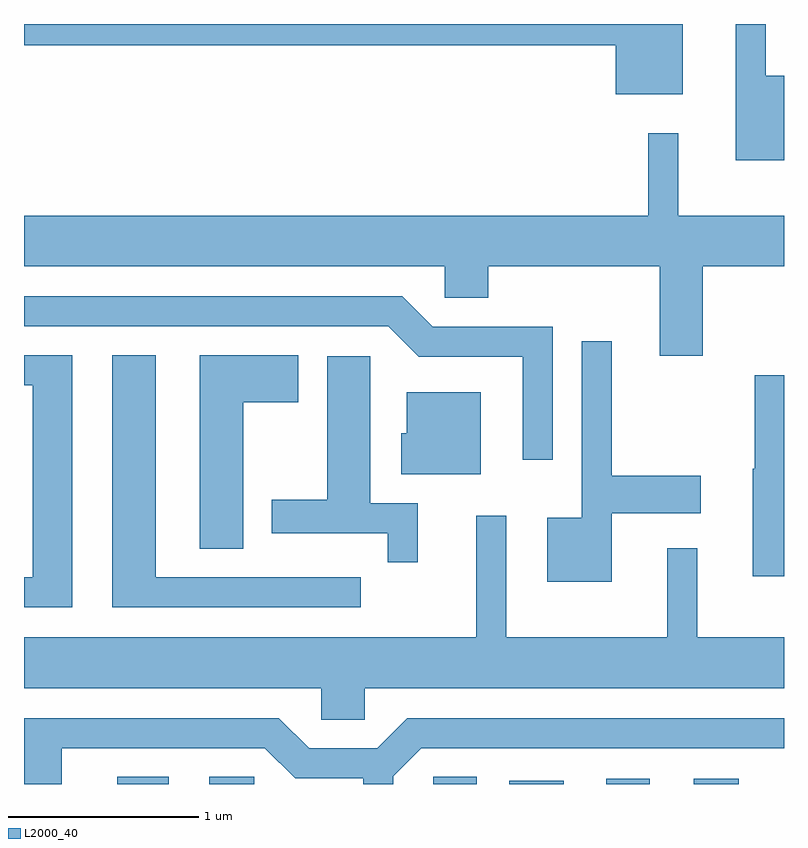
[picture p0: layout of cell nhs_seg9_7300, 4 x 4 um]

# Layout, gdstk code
import gdstk
lib = gdstk.Library(unit=1e-6, precision=1e-09)
def R(c, l, rs):  # rectangles x0, y0, x1, y1
    for r in rs: c.add(gdstk.rectangle(r[:2], r[2:], *l))
def P(c, l, *ps):  # polygons
    for p in ps: c.add(gdstk.Polygon(p, *l))
L2000_40 = (2000, 40)

nhs_seg9_7300 = lib.new_cell('nhs_seg9_7300')
R(nhs_seg9_7300, L2000_40, [(402.101,1982.432,402.373,1982.469), (402.586,1982.432,402.823,1982.469), (403.766,1982.432,403.994,1982.469), (404.166,1982.432,404.453,1982.449), (404.676,1982.432,404.904,1982.459), (405.136,1982.432,405.373,1982.459)])
P(nhs_seg9_7300, L2000_40, [(405.611,1986.159),(405.514,1986.159),(405.514,1986.432),(405.356,1986.432),(405.356,1985.716),(405.611,1985.716)],
  [(405.079,1986.432),(401.611,1986.432),(401.611,1986.321),(404.726,1986.321),(404.726,1986.061),(405.079,1986.061)],
  [(405.184,1985.156),(405.611,1985.156),(405.611,1985.424),(405.054,1985.424),(405.054,1985.858),(404.896,1985.858),(404.896,1985.424),(401.611,1985.424),(401.611,1985.156),(403.826,1985.156),(403.826,1984.991),(404.054,1984.991),(404.054,1985.156),(404.956,1985.156),(404.956,1984.686),(405.184,1984.686)],
  [(404.394,1984.839),(403.762,1984.839),(403.602,1984.999),(401.611,1984.999),(401.611,1984.841),(403.529,1984.841),(403.689,1984.681),(404.236,1984.681),(404.236,1984.138),(404.394,1984.138)],
  [(404.704,1983.856),(405.174,1983.856),(405.174,1984.054),(404.704,1984.054),(404.704,1984.763),(404.546,1984.763),(404.546,1983.834),(404.366,1983.834),(404.366,1983.496),(404.704,1983.496)],
  [(401.864,1984.689),(401.611,1984.689),(401.611,1984.531),(401.656,1984.531),(401.656,1983.519),(401.611,1983.519),(401.611,1983.361),(401.864,1983.361)],
  [(402.764,1984.441),(403.054,1984.441),(403.054,1984.689),(402.536,1984.689),(402.536,1983.671),(402.764,1983.671)],
  [(403.383,1983.519),(402.304,1983.519),(402.304,1984.689),(402.076,1984.689),(402.076,1983.361),(403.383,1983.361)],
  [(403.684,1983.909),(403.434,1983.909),(403.434,1984.684),(403.206,1984.684),(403.206,1983.929),(402.916,1983.929),(402.916,1983.751),(403.526,1983.751),(403.526,1983.598),(403.684,1983.598)],
  [(405.611,1984.584),(405.456,1984.584),(405.456,1984.09),(405.446,1984.09),(405.446,1983.526),(405.611,1983.526)],
  [(404.014,1984.494),(403.626,1984.494),(403.626,1984.279),(403.596,1984.279),(403.596,1984.061),(404.014,1984.061)],
  [(403.404,1982.936),(405.611,1982.936),(405.611,1983.204),(405.154,1983.204),(405.154,1983.673),(404.996,1983.673),(404.996,1983.204),(404.149,1983.204),(404.149,1983.843),(403.991,1983.843),(403.991,1983.204),(401.611,1983.204),(401.611,1982.936),(403.176,1982.936),(403.176,1982.771),(403.404,1982.771)],
  [(401.809,1982.621),(402.879,1982.621),(403.039,1982.461),(403.396,1982.461),(403.396,1982.432),(403.554,1982.432),(403.554,1982.474),(403.702,1982.621),(405.611,1982.621),(405.611,1982.779),(403.629,1982.779),(403.469,1982.619),(403.112,1982.619),(402.952,1982.779),(401.611,1982.779),(401.611,1982.432),(401.809,1982.432)])

lib.write_gds('nhs_seg9_7300.gds')
